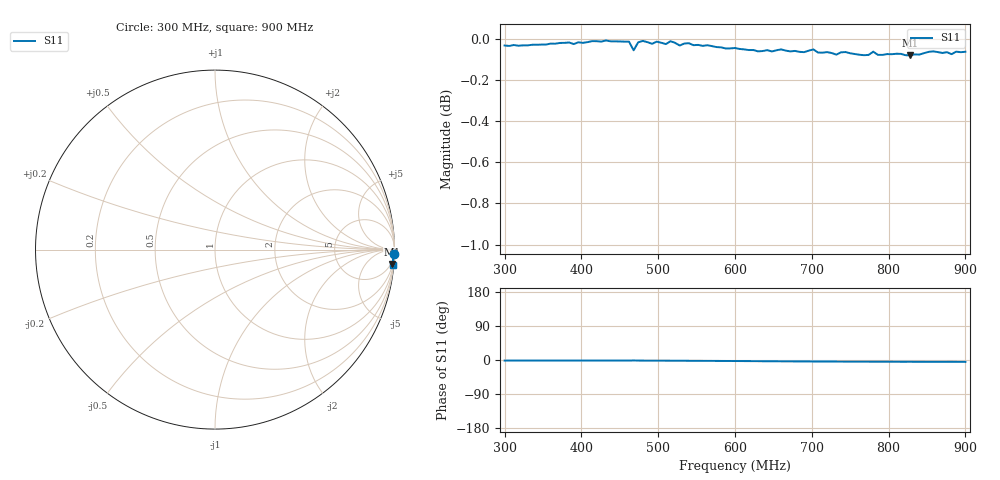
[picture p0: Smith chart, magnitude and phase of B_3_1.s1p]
# HZ S RI R 50
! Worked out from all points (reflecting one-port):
!   101 points, 300 MHz to 900 MHz, reference 50 ohm
!   lowest |S11| = -0.1 dB at 828 MHz (marker M1), VSWR 216.73, Z = 139 - j1.22e+03 ohm
!   phase of S11 starts at -2 deg and turns -3 deg over the sweep
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3e8  0.996 -0.0268
3.78e8  0.9975 -0.0247
4.5e8  0.9982 -0.0263
4.62e8  0.9981 -0.0273
4.68e8  0.9934 -0.0203
4.74e8  0.9978 -0.0271
5.1e8  0.9966 -0.0313
5.16e8  0.9982 -0.0315
5.28e8  0.9957 -0.0339
5.4e8  0.9969 -0.0368
6e8  0.9938 -0.047
6.3e8  0.9916 -0.0542
6.48e8  0.9913 -0.0588
6.54e8  0.992 -0.0579
6.78e8  0.9912 -0.0644
6.96e8  0.9912 -0.0663
7.02e8  0.9917 -0.0695
7.32e8  0.9887 -0.0715
7.5e8  0.9892 -0.0742
7.74e8  0.9881 -0.0768
7.8e8  0.9898 -0.0786
7.86e8  0.9881 -0.0774
8.16e8  0.9884 -0.081
8.28e8  0.9876 -0.0803
8.52e8  0.9892 -0.0846
8.82e8  0.988 -0.0832
8.88e8  0.9892 -0.0861
9e8  0.9891 -0.0861
